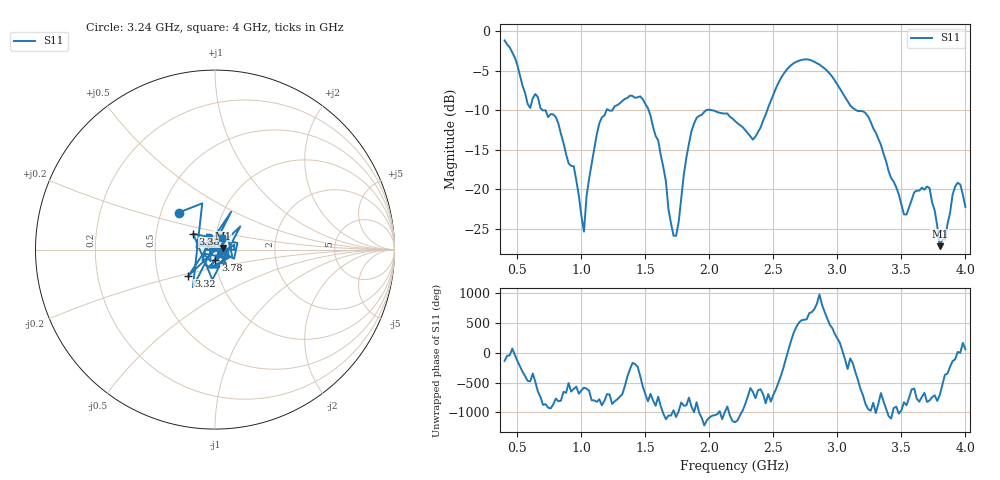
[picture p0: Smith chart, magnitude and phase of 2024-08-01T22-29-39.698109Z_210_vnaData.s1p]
!Created with skrf (http://scikit-rf.org).
# Hz S RI R 50.0
!freq ReS11 ImS11
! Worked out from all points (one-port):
!   181 points, 400 MHz to 4 GHz, reference 50 ohm
!   lowest |S11| = -27.2 dB at 3.8 GHz (marker M1), VSWR 1.09, Z = 54.5 + j0.95 ohm
!   |S11| at or under -10 dB: 720 MHz to 1.196 GHz (476.4 MHz wide, 49.7 % of centre); 1.525 GHz to 1.976 GHz (450.3 MHz wide, 25.7 % of centre); 3.149 GHz to end of sweep (the widest 3 of 6)
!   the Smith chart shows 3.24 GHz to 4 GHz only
!   S11 on the Smith chart (normalised r, x): 3.24 GHz: 0.62, +0.28; 3.32 GHz: 0.71, -0.22; 3.38 GHz: 0.77, +0.14; 3.78 GHz: 1.00, -0.12; 4 GHz: 1.07, +0.14
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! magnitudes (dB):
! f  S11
! 400 MHz  -1.2
! 580 MHz  -9.2
! 640 MHz  -7.9
! 860 MHz  -14.1
! 940 MHz  -17.1
! 1.02 GHz  -25.4
! 1.14 GHz  -11.7
! 1.3 GHz  -9.1
! 1.52 GHz  -9.7
! 1.6 GHz  -13.8
! 1.72 GHz  -25.9
! 1.76 GHz  -24.1
! 1.82 GHz  -16.0
! 1.9 GHz  -11.0
! 2.2 GHz  -11.4
! 2.34 GHz  -13.7
! 2.66 GHz  -4.0
! 2.88 GHz  -4.5
! 3.1 GHz  -9.4
! 3.24 GHz  -10.8
! 3.32 GHz  -13.6
! 3.38 GHz  -16.4
! 3.56 GHz  -22.3
! 3.72 GHz  -19.8
! 3.78 GHz  -24.7
! 3.8 GHz  -27.2
! 3.92 GHz  -19.7
! 4 GHz  -22.2
